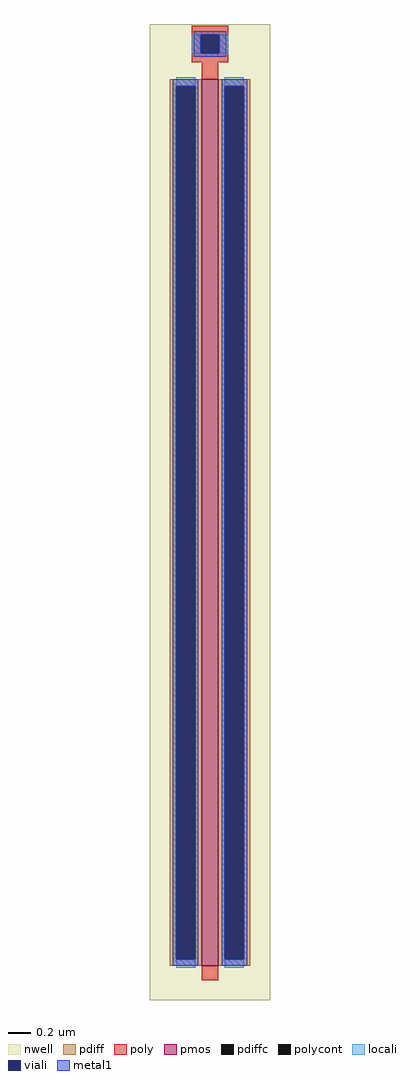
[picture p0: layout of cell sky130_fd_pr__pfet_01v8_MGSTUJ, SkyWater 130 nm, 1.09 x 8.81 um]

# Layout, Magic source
magic
tech sky130A
magscale 1 2
<< nwell >>
rect -109 -898 109 864
<< pmos >>
rect -15 -836 15 764
<< pdiff >>
rect -73 752 -15 764
rect -73 -824 -61 752
rect -27 -824 -15 752
rect -73 -836 -15 -824
rect 15 752 73 764
rect 15 -824 27 752
rect 61 -824 73 752
rect 15 -836 73 -824
<< pdiffc >>
rect -61 -824 -27 752
rect 27 -824 61 752
<< poly >>
rect -33 845 33 861
rect -33 811 -17 845
rect 17 811 33 845
rect -33 795 33 811
rect -15 764 15 795
rect -15 -862 15 -836
<< polycont >>
rect -17 811 17 845
<< locali >>
rect -33 811 -17 845
rect 17 811 33 845
rect -61 752 -27 768
rect -61 -840 -27 -824
rect 27 752 61 768
rect 27 -840 61 -824
<< viali >>
rect -17 811 17 845
rect -61 -824 -27 752
rect 27 -824 61 752
<< metal1 >>
rect -29 845 29 851
rect -29 811 -17 845
rect 17 811 29 845
rect -29 805 29 811
rect -67 752 -21 764
rect -67 -824 -61 752
rect -27 -824 -21 752
rect -67 -836 -21 -824
rect 21 752 67 764
rect 21 -824 27 752
rect 61 -824 67 752
rect 21 -836 67 -824
<< properties >>
string gencell sky130_fd_pr__pfet_01v8
string library sky130
string parameters w 8.0 l 0.15 m 1 nf 1 diffcov 100 polycov 100 guard 0 glc 1 grc 1 gtc 1 gbc 1 tbcov 100 rlcov 100 topc 1 botc 0 poverlap 0 doverlap 1 lmin 0.15 wmin 0.42 compatible {sky130_fd_pr__pfet_01v8  sky130_fd_pr__pfet_01v8_lvt sky130_fd_pr__pfet_01v8_hvt  sky130_fd_pr__pfet_g5v0d10v5} full_metal 1 viasrc 100 viadrn 100 viagate 100 viagb 0 viagr 0 viagl 0 viagt 0
<< end >>
